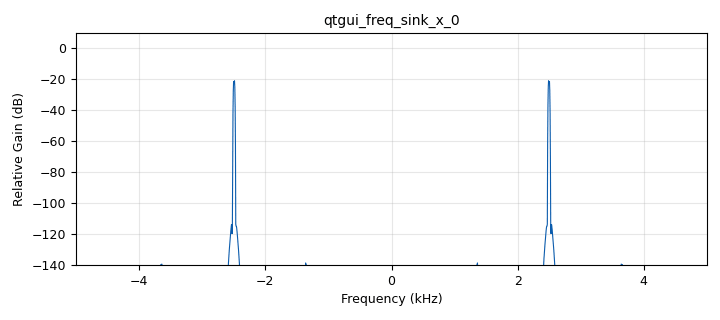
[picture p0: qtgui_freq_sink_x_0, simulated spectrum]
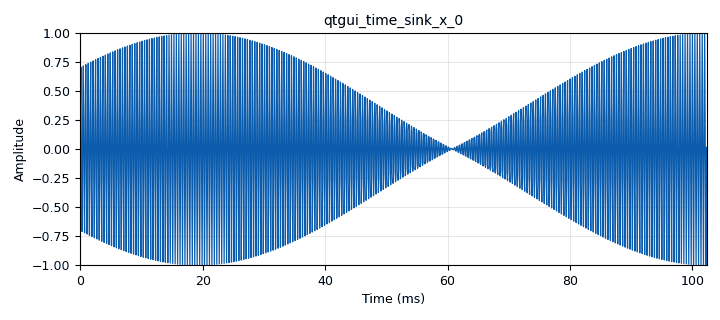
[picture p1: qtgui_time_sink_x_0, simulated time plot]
options:
  parameters:
    author: Brayan_Fonseca_J1B_G5
    generate_options: qt_gui
    id: lab2_comu1_punto_6
    output_language: python
    title: lab2_comu1_punto6
  states: {}

blocks:
- name: freq_a
  id: variable_qtgui_range
  parameters:
    label: frecuencia_A
    start: '1000'
    step: '1000'
    stop: '40000'
    value: '5000'
  states: {}
- name: freq_b
  id: variable_qtgui_range
  parameters:
    label: frecuencia_B
    start: '1'
    step: '1000'
    stop: '40000'
    value: '6'
  states: {}
- name: freq_c
  id: variable_qtgui_range
  parameters:
    label: frecuencia_C
    start: '1000'
    step: '1000'
    stop: '40000'
    value: '2503'
  states: {}
- name: samp_rate
  id: variable_qtgui_range
  parameters:
    label: frecuencia de muestreo
    start: '1000'
    step: '1000'
    stop: '80000'
    value: '10000'
  states: {}
- name: analog_sig_source_x_0
  id: analog_sig_source_x
  parameters:
    amp: '1'
    freq: freq_a
    offset: '0'
    phase: '0'
    samp_rate: samp_rate
    type: float
    waveform: analog.GR_COS_WAVE
  states: {}
- name: analog_sig_source_x_0_0
  id: analog_sig_source_x
  parameters:
    amp: '1'
    freq: freq_b
    offset: '0'
    phase: '0'
    samp_rate: samp_rate
    type: float
    waveform: analog.GR_COS_WAVE
  states: {}
- name: analog_sig_source_x_0_1
  id: analog_sig_source_x
  parameters:
    amp: '1'
    freq: freq_c
    offset: '0'
    phase: '0'
    samp_rate: samp_rate
    type: float
    waveform: analog.GR_COS_WAVE
  states: {}
- name: blocks_multiply_xx_0
  id: blocks_multiply_xx
  parameters:
    num_inputs: '3'
    type: float
  states: {}
- name: blocks_throttle_0
  id: blocks_throttle
  parameters:
    samples_per_second: samp_rate
    type: float
  states: {}
- name: qtgui_freq_sink_x_0
  id: qtgui_freq_sink_x
  parameters:
    bw: samp_rate
    fc: '0'
    fftsize: '2048'
    type: float
  states: {}
- name: qtgui_time_sink_x_0
  id: qtgui_time_sink_x
  parameters:
    size: '1024'
    srate: samp_rate
    type: float
  states: {}

connections:
- [analog_sig_source_x_0, '0', blocks_multiply_xx_0, '0']
- [analog_sig_source_x_0_0, '0', blocks_multiply_xx_0, '1']
- [analog_sig_source_x_0_1, '0', blocks_multiply_xx_0, '2']
- [blocks_multiply_xx_0, '0', blocks_throttle_0, '0']
- [blocks_throttle_0, '0', qtgui_freq_sink_x_0, '0']
- [blocks_throttle_0, '0', qtgui_time_sink_x_0, '0']

metadata:
  file_format: 1
